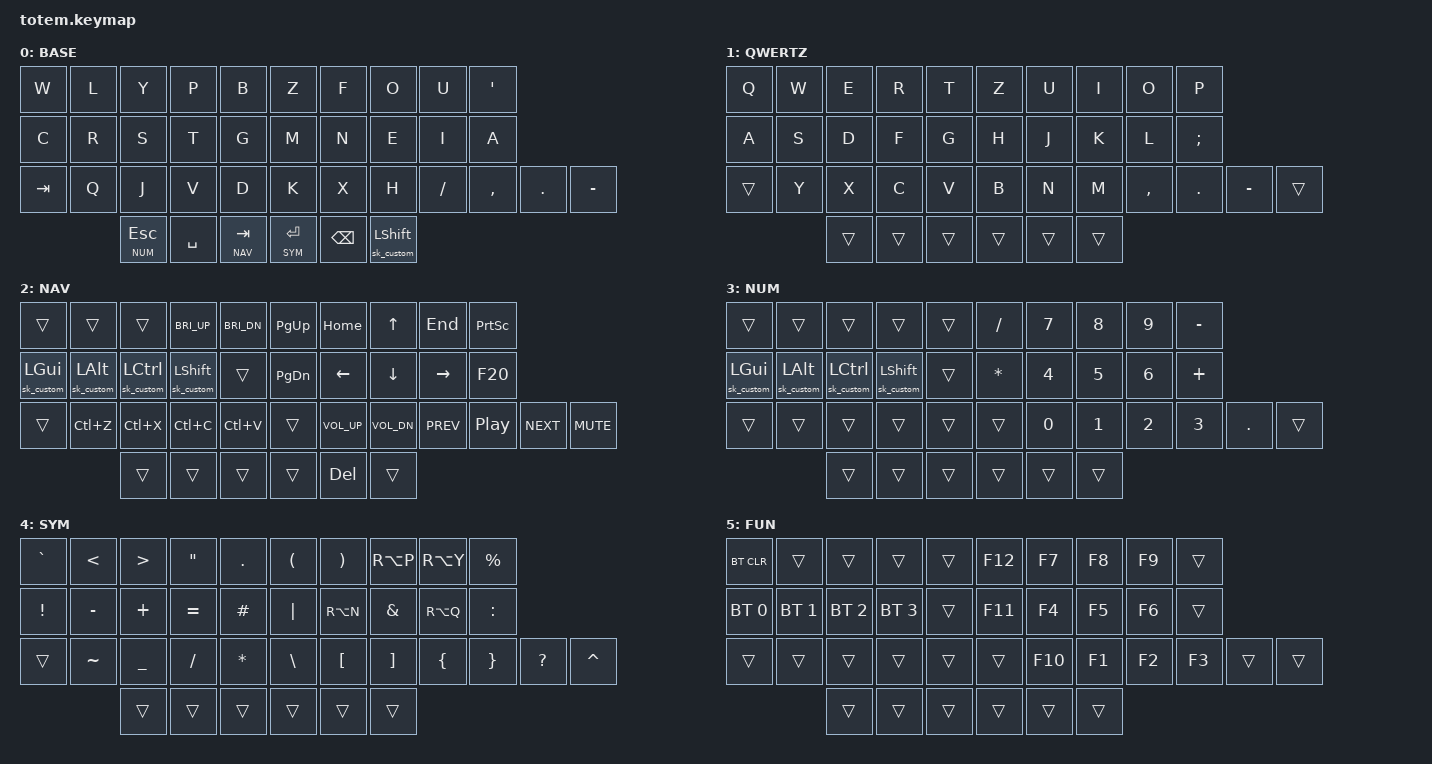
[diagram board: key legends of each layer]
/* config/totem.keymap */

#include <behaviors.dtsi>
#include <dt-bindings/zmk/keys.h>
#include <dt-bindings/zmk/bt.h>
#include <dt-bindings/zmk/outputs.h>
#include <dt-bindings/zmk/mouse.h> /* Standard Mouse Keys */

/* LAYER DEFINITIONS */
#define BASE 0
#define QWERTZ 1  /* NEW: Qwertz Layer */
#define NAV  2
#define NUM  3
#define SYM  4
#define FUN  5

/ {
    behaviors {
        /* LAYER TAP: Hold for Layer, Tap for Key */
        lt_custom: layer_tap_custom {
            compatible = "zmk,behavior-hold-tap";
            label = "LAYER_TAP";
            #binding-cells = <2>;
            flavor = "balanced";
            tapping-term-ms = <200>;
            quick-tap-ms = <175>;
            bindings = <&mo>, <&kp>;
        };

        /* STICKY KEY: Tap to activate, it waits for the next keypress */
        sk_custom: sticky_key_custom {
            compatible = "zmk,behavior-sticky-key";
            label = "STICKY_KEY";
            #binding-cells = <1>;
            bindings = <&kp>;
            release-after-ms = <2000>;
            quick-release; /* Vital: Cancel modifier immediately after typing */
            ignore-modifiers;
        };
    };

    combos {
        compatible = "zmk,combos";

        /* TOGGLE LAYOUT: (pinkies hold together) */
        combo_toggle_layout {
            timeout-ms = <50>;
            key-positions = <20 31>; 
            bindings = <&tog QWERTZ>; /* Toggles Layer 1 On/Off */
        };
        
        /* ESCAPE: Top Left W + L */
        combo_esc { timeout-ms = <50>; key-positions = <0 1>; bindings = <&kp ESC>; };
        
        /* CAPS WORD: Left Index (T) + Right Index (N) */
        combo_cw  { timeout-ms = <50>; key-positions = <13 16>; bindings = <&caps_word>; };
        
        /* ENTER: Right Home N + E (Optionally keep this if you like combos) */
        /* combo_ret { timeout-ms = <50>; key-positions = <16 17>; bindings = <&kp RET>; }; */
        
        /* BOOTLOADER */
        boot_left  { timeout-ms = <50>; key-positions = <0 10 20>; bindings = <&bootloader>; };
        boot_right { timeout-ms = <50>; key-positions = <9 19 31>; bindings = <&bootloader>; };
    };

    /* TRI-LAYER LOGIC: If NUM and SYM are pressed, activate FUN */
    conditional_layers {
        compatible = "zmk,conditional-layers";
        tri_layer {
            if-layers = <NUM SYM>;
            then-layer = <FUN>;
        };
    };

    keymap {
        compatible = "zmk,keymap";

        /* LAYER 0: BASE (Canary)
         * THUMBS: [NUM/ESC] [SPACE] [NAV/TAB]  |  [SYM/RET] [BSPC] [STICKY SHIFT]
         * OUTER KEYS: [TAB] (Left), [MINUS] (Right)
         */
        base_layer {
            label = "BASE";
            bindings = <
      &kp W             &kp L      &kp Y      &kp P      &kp B           &kp Z      &kp F      &kp O      &kp U      &kp SQT
      &kp C             &kp R      &kp S      &kp T      &kp G           &kp M      &kp N      &kp E      &kp I      &kp A
&kp TAB  &kp Q   &kp J     &kp V      &kp D   &kp K               &kp X      &kp H      &kp FSLH  &kp COMMA  &kp DOT  &kp MINUS
                &lt_custom NUM ESC   &kp SPACE  &lt_custom NAV TAB   &lt_custom SYM RET  &kp BSPC   &sk_custom LSHIFT
            >;
        };


        /* LAYER 1: QWERTZ (Toggle Backup) 
         * Note: Y and Z are swapped compared to US QWERTY standard.
         * Thumbs remain IDENTICAL so your layers (NUM, NAV, SYM) still work!
         */
        qwertz_layer {
            label = "QWERTZ";
            bindings = <
      &kp Q             &kp W      &kp E      &kp R      &kp T           &kp Z      &kp U      &kp I      &kp O      &kp P
      &kp A             &kp S      &kp D      &kp F      &kp G           &kp H      &kp J      &kp K      &kp L      &kp SEMI
 &trans  &kp Y      &kp X      &kp C      &kp V    &kp B              &kp N      &kp M      &kp COMMA  &kp DOT  &kp MINUS &trans
                &trans   &trans   &trans        &trans   &trans   &trans
            >;
        };

        /* LAYER 1: NAV
         * LEFT HAND: Sticky Mods (GUI, ALT, CTRL, SHIFT)
         * RIGHT HAND: Arrows & Clipboard
         * BOTTOM LEFT: Undo, Cut, Copy, Paste
         */
        nav_layer {
            label = "NAV";
            bindings = <
      &trans     &trans     &trans     &kp C_BRI_UP  &kp C_BRI_DN          &kp PG_UP  &kp HOME   &kp UP     &kp END    &kp PSCRN
      &sk_custom LGUI &sk_custom LALT &sk_custom LCTRL &sk_custom LSHIFT &trans      &kp PG_DN  &kp LEFT   &kp DOWN   &kp RIGHT  &kp F20
&trans &kp LC(Z)  &kp LC(X)  &kp LC(C)  &kp LC(V)  &trans          &kp C_VOL_UP &kp C_VOL_DN  &kp C_PREV &kp C_PP &kp C_NEXT  &kp C_MUTE  
                 &trans     &trans     &trans          &trans     &kp DEL    &trans
            >;
        };

        /* LAYER 2: NUM (Left Inner Thumb)
         * Calculator-style pad on Right Hand
         */
        num_layer {
            label = "NUM";
            bindings = <
      &trans     &trans     &trans     &trans     &trans          &kp FSLH   &kp N7     &kp N8     &kp N9     &kp MINUS
      &sk_custom LGUI &sk_custom LALT &sk_custom LCTRL &sk_custom LSHIFT &trans      &kp ASTRK  &kp N4     &kp N5     &kp N6     &kp PLUS
&trans &trans     &trans     &trans     &trans     &trans          &kp N0     &kp N1     &kp N2     &kp N3     &kp DOT  &trans 
                 &trans     &trans     &trans          &trans     &trans     &trans
            >;
        };

        /* LAYER 3: SYM & UMLAUTS (Right Inner Thumb)
         * US-INTL Settings: 
         * Ä = AltGr + q
         * Ö = AltGr + p
         * Ü = AltGr + y
         */
        sym_layer {
            label = "SYM";
            bindings = <
/* LEFT HAND (Math & Logic) */               /* RIGHT HAND (Brackets & Umlauts) */
      &kp GRAVE  &kp LT     &kp GT     &kp DQT    &kp DOT         &kp LPAR   &kp RPAR   &kp RA(P)  &kp RA(Y)  &kp PRCNT
                                                                  /* (       )          Ö          Ü          % */

      &kp EXCL   &kp MINUS  &kp PLUS   &kp EQUAL  &kp HASH        &kp PIPE   &kp RA(N)  &kp AMPS     &kp RA(Q)  &kp COLON 
                                                                  /* |       ñ          _          Ä          : */
&trans  &kp TILDE  &kp UNDER  &kp FSLH   &kp ASTRK  &kp BSLH     &kp LBKT   &kp RBKT   &kp LBRC   &kp RBRC   &kp QMARK &kp CARET
                 &trans     &trans     &trans          &trans  &trans     &trans        /* [       ]          {          }          ? */
            >;
        };


       /* LAYER 4: FUN (Access via Tri-Layer or Combo if needed) */
        fun_layer {
            label = "FUN";
            bindings = <
        &bt BT_CLR    &trans        &trans   &trans   &trans     &kp F12  &kp F7  &kp F8  &kp F9  &trans
        &bt BT_SEL 0  &bt BT_SEL 1  &bt BT_SEL 2  &bt BT_SEL 3  &trans      &kp F11  &kp F4  &kp F5  &kp F6  &trans
        &trans        &trans        &trans        &trans        &trans      &trans   &kp F10  &kp F1  &kp F2  &kp F3 &trans  &trans
                                    &trans        &trans        &trans      &trans   &trans  &trans
            >;
        };
    };
};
